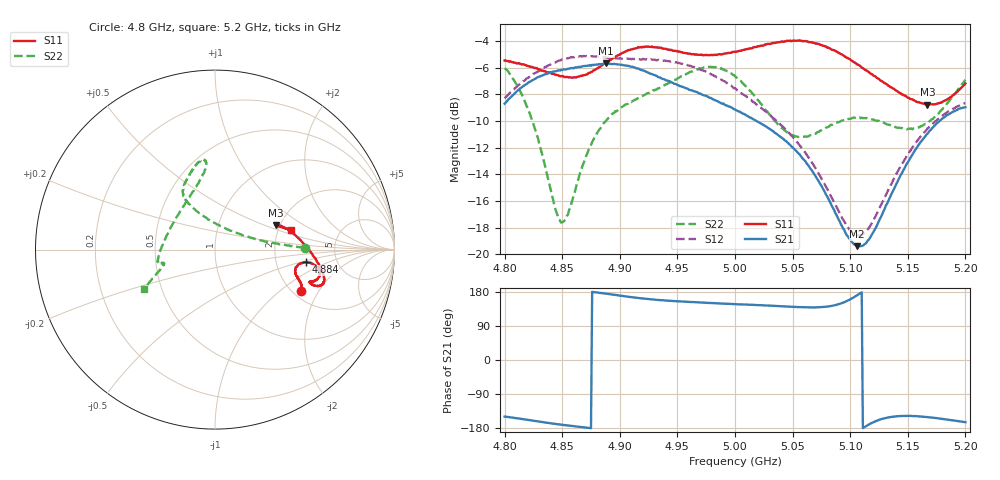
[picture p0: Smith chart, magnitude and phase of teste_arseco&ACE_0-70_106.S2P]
! Network Analyzer HP8722D
! Hewlett-Packard
! Data name: Linha & Wilkinson
! Saver's name: Rodrigo Anjos
! Comments: Teste da utilização de aquisição
! continua pelo VNA HP8722D
! Time and date: 8/5/2025 13:38
!  Frequency  S11  S21  S12  S22
# HZ  S  MA R 50
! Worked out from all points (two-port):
!   401 points, 4.8 GHz to 5.2 GHz, reference 50 ohm
!   highest |S21| = -5.67 dB at 4.888 GHz (marker M1); lowest = -19.4 dB at 5.106 GHz (marker M2)
!   |S21| within 3 dB of the highest: 4.8 GHz to 4.988 GHz (187.9 MHz wide, 3.84 % of centre)
!   lowest |S11| = -8.8 dB at 5.167 GHz (marker M3), VSWR 2.15, Z = 94.7 + j30.1 ohm
!   |S11| at or under -10 dB: nowhere
!   |S22| runs from -17.6 to -5.9 dB; largest |S21 - S12| = 1.1
!   S11 on the Smith chart (normalised r, x): 4.8 GHz: 2.23, -1.42; 4.884 GHz: 2.96, -0.56; 5.2 GHz: 2.34, +0.64
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4.8e9  0.533 -25.4  0.3669 -149.5  0.3852 10.1  0.4989 1.2
4.811e9  0.5194 -22.6  0.4099 -153.8  0.4268 8.4  0.4288 2.7
4.822e9  0.505 -20.8  0.4434 -158.8  0.4633 6.8  0.3359 6.0
4.848e9  0.466 -16.1  0.4888 -170.2  0.5333 2.6  0.1339 56.1
4.855e9  0.4619 -14.3  0.4962 -172.9  0.5442 1.6  0.1409 85.9
4.867e9  0.4671 -11.0  0.5054 -177.0  0.5518 -0.3  0.2106 111.5
4.884e9  0.5102 -7.9  0.5171 176.7  0.5479 -1.3  0.2998 119.9
4.888e9  0.5228 -8.1  0.5204 175.0  0.5476 -1.6  0.3161 120.2
4.909e9  0.5844 -10.3  0.506 166.2  0.5407 -1.3  0.374 118.9
4.934e9  0.5957 -15.9  0.4612 158.2  0.5366 -1.9  0.4196 112.0
4.975e9  0.5598 -18.8  0.3927 151.0  0.4837 -5.7  0.5022 98.8
5e9  0.5755 -19.7  0.3488 147.2  0.4197 -5.7  0.4658 96.1
5.018e9  0.599 -19.7  0.3172 145.2  0.3661 -2.8  0.3881 103.4
5.045e9  0.6322 -17.7  0.2639 141.1  0.2906 2.8  0.2872 133.0
5.067e9  0.6227 -13.5  0.2054 138.8  0.2204 9.2  0.2808 164.8
5.096e9  0.549 -3.7  0.1198 154.0  0.1303 34.6  0.3217 -171.3
5.106e9  0.5158 0.8  0.1072 171.0  0.1179 53.5  0.3255 -168.5
5.116e9  0.4824 5.9  0.1132 -170.7  0.1253 73.6  0.3219 -166.6
5.134e9  0.427 14.4  0.1614 -151.0  0.1775 94.7  0.306 -165.8
5.167e9  0.3645 22.2  0.2832 -150.8  0.2961 102.1  0.3119 -161.4
5.182e9  0.377 20.3  0.3276 -156.3  0.3356 102.1  0.3572 -157.0
5.2e9  0.4371 14.7  0.3561 -164.1  0.3693 102.4  0.4512 -151.0
